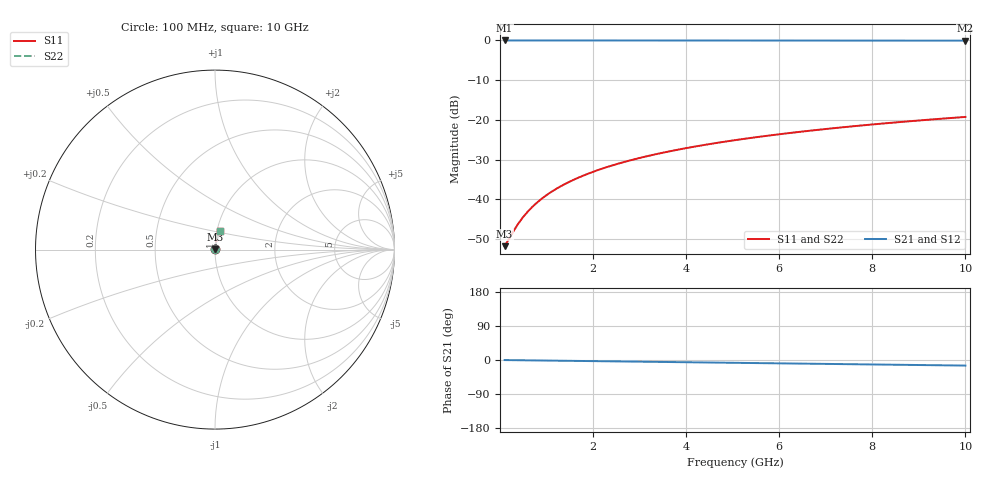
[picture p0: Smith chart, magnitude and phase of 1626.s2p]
# Hz S RI R 50.00
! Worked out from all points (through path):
!   100 points, 100 MHz to 10 GHz, reference 50 ohm
!   highest |S21| = -0.02 dB at 100 MHz (marker M1); lowest = -0.1 dB at 10 GHz (marker M2)
!   group delay of S21, straight-line fit = 4.09 ps
!   lowest |S11| = -51.8 dB at 100 MHz (marker M3), VSWR 1.01, Z = 50.2 + j0.11 ohm
!   |S11| at or under -10 dB: start of sweep to end of sweep
!   |S22| runs from -51.8 to -19.3 dB; largest |S21 - S12| = 0
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1e8  0.00232 0.00109  0.9977 -0.00256  0.9977 -0.00256  0.00232 0.00109
3e8  0.00237 0.00328  0.9976 -0.00769  0.9976 -0.00769  0.00237 0.00328
4e8  0.0024 0.00438  0.9976 -0.0103  0.9976 -0.0103  0.0024 0.00438
5e8  0.00243 0.00547  0.9975 -0.0128  0.9975 -0.0128  0.00243 0.00547
6e8  0.00247 0.00657  0.9975 -0.0154  0.9975 -0.0154  0.00247 0.00657
7e8  0.00251 0.00766  0.9974 -0.0179  0.9974 -0.0179  0.00251 0.00766
8e8  0.00256 0.00875  0.9974 -0.0205  0.9974 -0.0205  0.00256 0.00875
1e9  0.00267 0.0109  0.9972 -0.0256  0.9972 -0.0256  0.00267 0.0109
1.2e9  0.0028 0.0131  0.997 -0.0308  0.997 -0.0308  0.0028 0.0131
1.5e9  0.00304 0.0164  0.9967 -0.0384  0.9967 -0.0384  0.00304 0.0164
1.8e9  0.00333 0.0197  0.9963 -0.0461  0.9963 -0.0461  0.00333 0.0197
2.1e9  0.00366 0.0229  0.9958 -0.0538  0.9958 -0.0538  0.00366 0.0229
2.5e9  0.00419 0.0273  0.9951 -0.064  0.9951 -0.064  0.00419 0.0273
2.9e9  0.00481 0.0316  0.9942 -0.0742  0.9942 -0.0742  0.00481 0.0316
3.4e9  0.0057 0.037  0.993 -0.087  0.993 -0.087  0.0057 0.037
4.2e9  0.00741 0.0456  0.9906 -0.1074  0.9906 -0.1074  0.00741 0.0456
5.1e9  0.00976 0.0551  0.9873 -0.1302  0.9873 -0.1302  0.00976 0.0551
5.9e9  0.0122 0.0635  0.9839 -0.1503  0.9839 -0.1503  0.0122 0.0635
6.7e9  0.015 0.0718  0.98 -0.1704  0.98 -0.1704  0.015 0.0718
7.5e9  0.0181 0.0799  0.9756 -0.1904  0.9756 -0.1904  0.0181 0.0799
8.4e9  0.0221 0.0889  0.9701 -0.2127  0.9701 -0.2127  0.0221 0.0889
1e10  0.03 0.1045  0.9589 -0.2518  0.9589 -0.2518  0.03 0.1045
